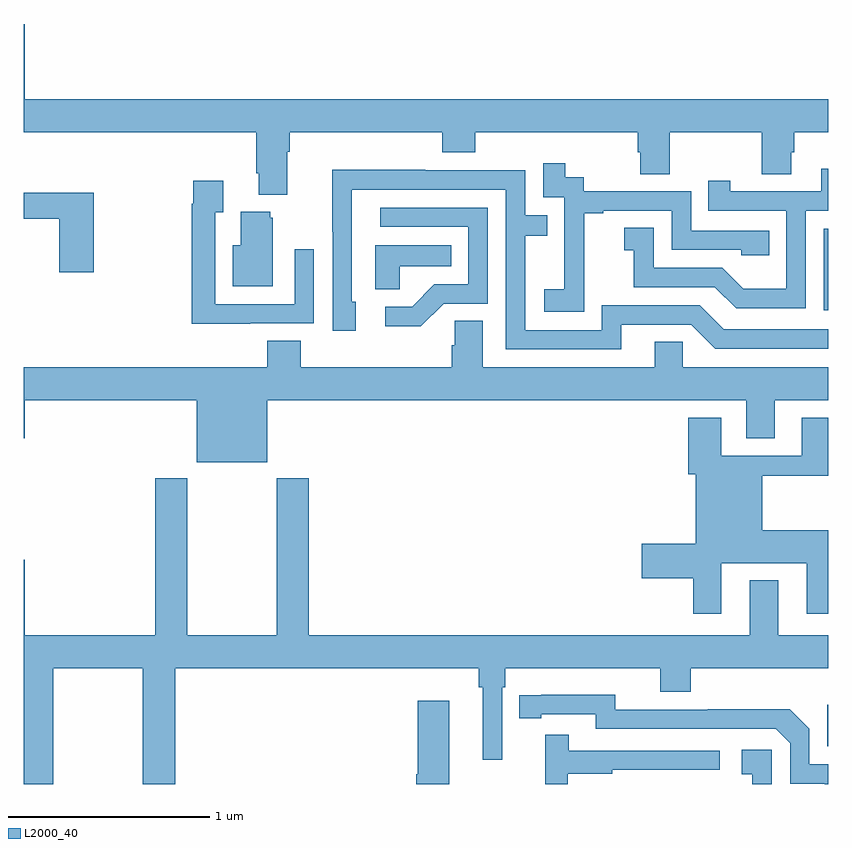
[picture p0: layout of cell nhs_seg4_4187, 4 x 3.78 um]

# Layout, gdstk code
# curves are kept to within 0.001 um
import gdstk
lib = gdstk.Library(unit=1e-6, precision=1e-09)
def R(c, l, rs):  # rectangles x0, y0, x1, y1
    for r in rs: c.add(gdstk.rectangle(r[:2], r[2:], *l))
def P(c, l, *ps):  # polygons
    for p in ps: c.add(gdstk.Polygon(p, *l))
L2000_40 = (2000, 40)

nhs_seg4_4187 = lib.new_cell('nhs_seg4_4187')
R(nhs_seg4_4187, L2000_40, [(336.996,807.087,337,807.295), (336.978,809.256,337,809.661)])
P(nhs_seg4_4187, L2000_40, [(333.004,810.679),(333,810.679),(333,810.14),(334.157,810.14),(334.157,809.938),(334.169,809.938),(334.169,809.831),(334.309,809.831),(334.309,810.044),(334.322,810.044),(334.322,810.14),(335.081,810.14),(335.081,810.041),(335.246,810.041),(335.246,810.14),(336.053,810.14),(336.053,810.042),(336.065,810.042),(336.065,809.932),(336.213,809.932),(336.213,810.14),(336.67,810.14),(336.67,809.932),(336.817,809.932),(336.817,810.042),(336.83,810.042),(336.83,810.14),(337,810.14),(337,810.304),(333.004,810.304)],
  [(335.787,809.455),(335.786,809.455),(335.786,809.739),(335.881,809.739),(335.881,809.751),(336.222,809.751),(336.222,809.556),(336.567,809.556),(336.567,809.529),(336.707,809.529),(336.707,809.652),(336.318,809.652),(336.318,809.847),(335.784,809.847),(335.784,809.916),(335.692,809.916),(335.692,809.986),(335.583,809.986),(335.583,809.817),(335.688,809.817),(335.688,809.588),(335.687,809.588),(335.687,809.359),(335.589,809.359),(335.589,809.249),(335.787,809.249)],
  [(336.888,809.751),(337,809.751),(337,809.959),(336.965,809.959),(336.965,809.847),(336.514,809.847),(336.514,809.899),(336.403,809.899),(336.403,809.751),(336.792,809.751),(336.792,809.362),(336.578,809.362),(336.474,809.466),(336.132,809.466),(336.132,809.665),(335.985,809.665),(335.985,809.555),(336.034,809.555),(336.034,809.37),(336.437,809.37),(336.542,809.265),(336.888,809.265)],
  [(335.971,809.184),(336.318,809.184),(336.438,809.064),(337,809.064),(337,809.16),(336.48,809.16),(336.36,809.28),(335.874,809.28),(335.874,809.157),(335.493,809.157),(335.493,809.626),(335.603,809.626),(335.603,809.727),(335.493,809.727),(335.493,809.952),(334.997,809.952),(334.997,809.954),(334.534,809.954),(334.534,809.647),(334.536,809.647),(334.536,809.154),(334.651,809.154),(334.651,809.298),(334.632,809.298),(334.632,809.856),(335.397,809.856),(335.397,809.061),(335.971,809.061)],
  [(334.127,809.19),(334.443,809.19),(334.443,809.56),(334.347,809.56),(334.347,809.286),(333.951,809.286),(333.951,809.743),(333.991,809.743),(333.991,809.899),(333.843,809.899),(333.843,809.786),(333.835,809.786),(333.835,809.189),(334.127,809.189)],
  [(333.347,809.839),(333,809.839),(333,809.71),(333.176,809.71),(333.176,809.445),(333.347,809.445)],
  [(335.088,809.289),(335.307,809.289),(335.307,809.766),(334.773,809.766),(334.773,809.67),(335.211,809.67),(335.211,809.385),(335.042,809.385),(334.931,809.274),(334.797,809.274),(334.797,809.177),(334.975,809.177)],
  [(334.237,809.715),(334.226,809.715),(334.226,809.746),(334.079,809.746),(334.079,809.578),(334.04,809.578),(334.04,809.375),(334.237,809.375)],
  [(334.869,809.474),(335.126,809.474),(335.126,809.578),(334.748,809.578),(334.748,809.359),(334.869,809.359)],
  [(334.21,808.808),(336.593,808.808),(336.593,808.618),(336.733,808.618),(336.733,808.808),(337,808.808),(337,808.972),(336.276,808.972),(336.276,809.099),(336.137,809.099),(336.137,808.972),(335.281,808.972),(335.281,809.204),(335.142,809.204),(335.142,809.081),(335.129,809.081),(335.129,808.972),(334.376,808.972),(334.376,809.105),(334.211,809.105),(334.211,808.972),(333,808.972),(333,808.62),(333.004,808.62),(333.004,808.808),(333.86,808.808),(333.86,808.499),(334.21,808.499)],
  [(336.469,807.998),(336.893,807.998),(336.893,807.747),(337,807.747),(337,808.162),(336.673,808.162),(336.673,808.432),(337,808.432),(337,808.72),(336.869,808.72),(336.869,808.533),(336.469,808.533),(336.469,808.72),(336.305,808.72),(336.305,808.44),(336.341,808.44),(336.341,808.094),(336.072,808.094),(336.072,807.923),(336.329,807.923),(336.329,807.747),(336.469,807.747)],
  [(333.147,807.476),(333.592,807.476),(333.592,806.9),(333.752,806.9),(333.752,807.476),(335.263,807.476),(335.263,807.38),(335.282,807.38),(335.282,807.021),(335.379,807.021),(335.379,807.38),(335.393,807.38),(335.393,807.476),(336.164,807.476),(336.164,807.359),(336.317,807.359),(336.317,807.476),(337,807.476),(337,807.64),(336.751,807.64),(336.751,807.913),(336.611,807.913),(336.611,807.64),(334.418,807.64),(334.418,808.42),(334.258,808.42),(334.258,807.64),(333.813,807.64),(333.813,808.42),(333.653,808.42),(333.653,807.64),(333.004,807.64),(333.004,808.015),(333,808.015),(333,806.9),(333.147,806.9)],
  [(337,806.997),(336.906,806.997),(336.906,807.174),(336.808,807.272),(336.4,807.272),(336.4,807.27),(335.94,807.27),(335.94,807.343),(335.464,807.342),(335.464,807.226),(335.572,807.226),(335.572,807.246),(335.844,807.246),(335.844,807.174),(336.738,807.174),(336.81,807.102),(336.81,806.901),(337,806.9)],
  [(335.116,807.313),(334.958,807.313),(334.958,806.949),(334.952,806.949),(334.952,806.9),(335.116,806.9)],
  [(335.704,806.95),(335.927,806.95),(335.927,806.97),(336.46,806.97),(336.46,807.066),(335.711,807.066),(335.711,807.145),(335.594,807.145),(335.594,806.9),(335.704,806.9)],
  [(336.72,807.07),(336.57,807.07),(336.57,806.949),(336.623,806.949),(336.623,806.9),(336.72,806.9)])

lib.write_gds('nhs_seg4_4187.gds')
